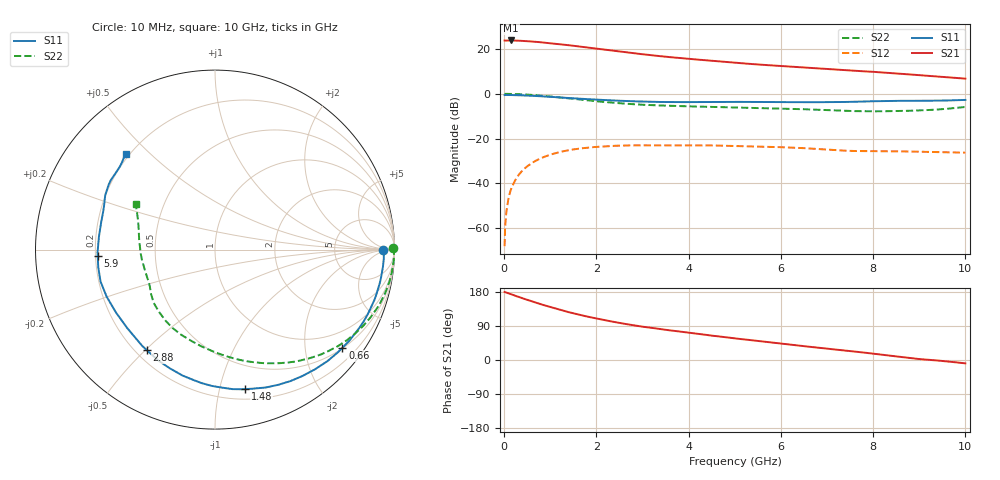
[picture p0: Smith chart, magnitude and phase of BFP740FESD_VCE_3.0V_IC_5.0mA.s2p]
! Infineon Technologies  Discrete & RF Semiconductors
! BFP740FESD
! VCE =  3.0 V,  IC =  5.0 mA
! Common Emitter S-Parameters:  Jan 2016
# GHz  S  MA  R  50
!  f  S11  S21  S12  S22
! GHz  MAG  ANG  MAG  ANG  MAG  ANG  MAG  ANG
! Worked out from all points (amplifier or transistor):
!   233 points, 10 MHz to 10 GHz, reference 50 ohm
!   highest |S21| = 23.8 dB at 150 MHz (marker M1)
!   |S21| within 3 dB of that: start of sweep to 1.746 GHz
!   unconditionally stable (mu >= 1): 7.101 GHz to end of sweep
!   at 200 MHz: K = 0.02, MSG = 32.0 dB, |S12| = -40.2 dB
!   at 1.74 GHz: K = 0.19, MSG = 22.5 dB, |S12| = -24.2 dB
!   at 10 GHz: K = 1.51, MAG = 12.3 dB, |S12| = -26.2 dB
!   S11 on the Smith chart (normalised r, x): 10 MHz: 30, -1; 660 MHz: 0.51, -2.86; 1.48 GHz: 0.28, -1.20; 2.88 GHz: 0.24, -0.50; 5.9 GHz: 0.21, -0.02; 10 GHz: 0.18, +0.42
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0.01  0.9364 -0.1  15.47 179.5  0.0004 123.5  0.9901 0.6
0.02  0.9409 -1.1  15.41 179.1  0.001 84.1  0.9975 -0.8
0.045  0.9416 -2.8  15.38 177.9  0.0022 83.7  0.9976 -1.7
0.15  0.939 -8.9  15.48 173.5  0.0075 84.3  0.9951 -6.0
0.4  0.9239 -23.1  15.14 162.9  0.0195 75.5  0.9735 -15.9
0.66  0.8963 -37.6  14.51 152.3  0.0311 66.7  0.9351 -25.7
0.9  0.8688 -50.2  13.8 143.3  0.0404 59.0  0.8925 -34.3
1.06  0.8485 -58.2  13.27 137.7  0.0459 54.0  0.8595 -39.9
1.26  0.823 -67.9  12.61 130.8  0.0518 48.3  0.8184 -46.5
1.48  0.7958 -77.7  11.85 123.9  0.0572 42.5  0.7734 -53.4
1.68  0.7729 -86.0  11.2 117.9  0.0609 37.5  0.7356 -59.1
1.92  0.7494 -95.0  10.41 111.5  0.0645 32.5  0.6951 -65.7
2.2  0.7249 -104.4  9.581 104.6  0.0675 27.1  0.6542 -72.8
2.54  0.6976 -115.0  8.689 97.0  0.07 21.3  0.6122 -80.8
2.88  0.6767 -124.3  7.881 90.2  0.0711 16.3  0.5798 -87.9
3.4  0.6573 -136.0  6.883 81.4  0.0713 10.3  0.5486 -96.5
4.5  0.6581 -156.5  5.458 64.3  0.0706 0.8  0.5106 -111.6
5.1  0.6604 -165.8  4.847 55.7  0.0684 -3.6  0.4935 -119.6
5.9  0.6545 -177.1  4.237 44.8  0.0649 -8.5  0.4702 -130.0
6.8  0.6504 169.4  3.685 32.6  0.0588 -12.3  0.4411 -142.6
8.4  0.6941 148.6  2.9 11.0  0.0523 -8.4  0.4112 -172.3
10  0.7309 133.0  2.18 -8.9  0.0487 -5.8  0.5088 150.1
